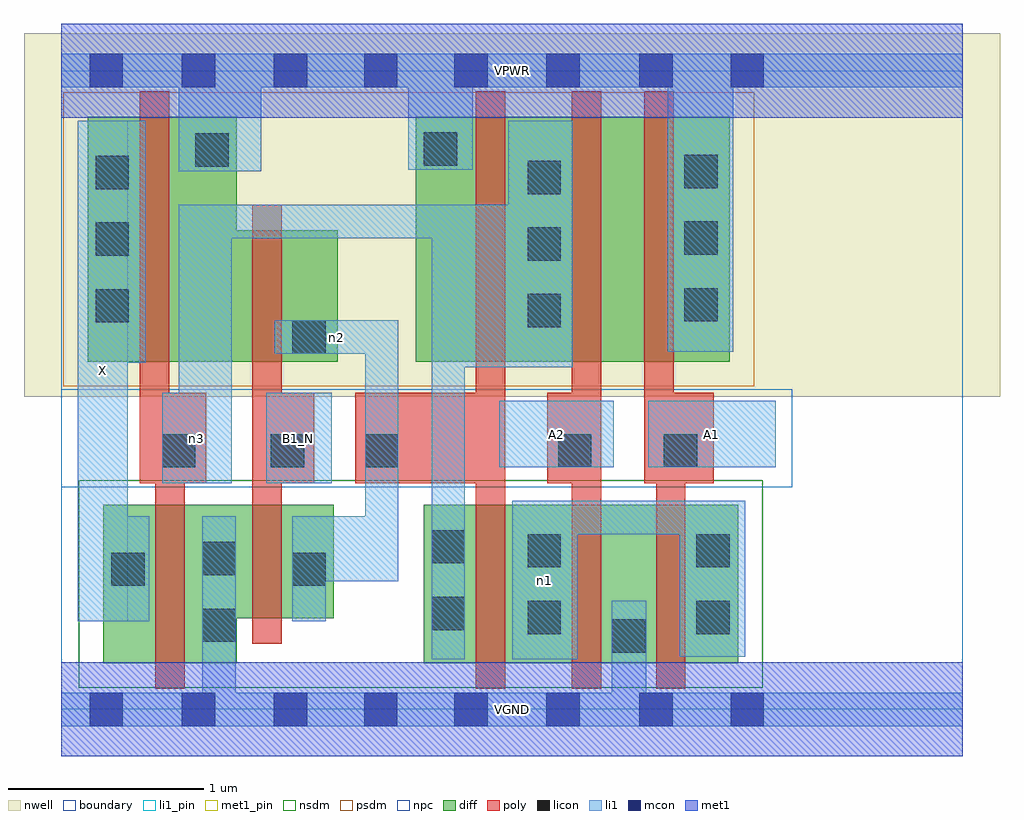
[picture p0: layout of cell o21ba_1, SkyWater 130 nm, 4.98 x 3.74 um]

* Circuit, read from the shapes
.subckt o21ba_1 A1 A2 B1_N VGND VPWR X n1 n2 n3
XM1 VGND n3 X VSUBS sky130_fd_pr__nfet_01v8 w=0.81 l=0.15
XM2 n2 B1_N VGND VSUBS sky130_fd_pr__nfet_01v8 w=0.58 l=0.15
XM3 n1 n2 n3 VSUBS sky130_fd_pr__nfet_01v8 w=0.81 l=0.15
XM4 VGND A2 n1 VSUBS sky130_fd_pr__nfet_01v8 w=0.81 l=0.15
XM5 n1 A1 VGND VSUBS sky130_fd_pr__nfet_01v8 w=0.81 l=0.15
XM6 VPWR n3 X n4 sky130_fd_pr__pfet_01v8 w=1.25 l=0.15
XM7 n2 B1_N VPWR n4 sky130_fd_pr__pfet_01v8 w=0.67 l=0.15
XM8 n3 n2 VPWR n4 sky130_fd_pr__pfet_01v8 w=1.25 l=0.15
XM9 n5 A2 n3 n4 sky130_fd_pr__pfet_01v8 w=1.25 l=0.15
XM10 VPWR A1 n5 n4 sky130_fd_pr__pfet_01v8 w=1.25 l=0.15
.ends

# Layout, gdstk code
import gdstk
lib = gdstk.Library(unit=1e-6, precision=1e-09)
def R(c, l, rs):  # rectangles x0, y0, x1, y1
    for r in rs: c.add(gdstk.rectangle(r[:2], r[2:], *l))
def A(c, l, x, y, w, h, nx, ny, dx, dy):  # array of equal rectangles
    R(c, l, [(x+i*dx, y+j*dy, x+i*dx+w, y+j*dy+h) for i in range(nx) for j in range(ny)])
nwell = (64, 20)
diff = (65, 20)
poly = (66, 20)
licon = (66, 44)
li1_pin = (67, 16)
li1 = (67, 20)
mcon = (67, 44)
met1_pin = (68, 16)
met1 = (68, 20)
nsdm = (93, 44)
psdm = (94, 20)
npc = (95, 20)
boundary = (235, 4)

o21ba_1 = lib.new_cell('o21ba_1')
R(o21ba_1, nwell, [(-0.19,1.595,4.79,3.45), (0,1.595,4.6,3.45)])
R(o21ba_1, diff, [(0.215,0.235,0.895,1.045), (1.85,0.235,3.455,1.045), (0.215,0.465,1.39,1.045), (0.135,1.775,0.895,3.025), (0.135,1.775,1.41,2.445), (1.81,1.775,3.41,3.025)])
R(o21ba_1, poly, [(0.48,0.105,0.63,1.615), (2.115,0.105,2.265,3.155), (2.605,0.105,2.755,3.155), (3.035,0.105,3.185,1.615), (0.975,0.335,1.125,2.575), (0.4,1.155,0.55,3.155), (0.4,1.155,0.74,1.615), (0.975,1.155,1.29,1.615), (1.5,1.155,2.265,1.615), (2.48,1.155,2.755,1.615), (2.975,1.155,3.125,3.155), (2.975,1.155,3.33,1.615)])
A(o21ba_1, licon, 2.38, 1.95, 0.17, 0.17, 1, 3, 0, 0.34)
A(o21ba_1, licon, 0.175, 1.975, 0.17, 0.17, 1, 3, 0, 0.34)
A(o21ba_1, licon, 3.18, 1.98, 0.17, 0.17, 1, 3, 0, 0.34)
R(o21ba_1, licon, [(2.81,0.29,2.98,0.46), (0.72,0.345,0.89,0.515), (2.38,0.385,2.55,0.555), (3.24,0.385,3.41,0.555), (1.89,0.405,2.06,0.575), (0.255,0.63,0.425,0.8), (1.18,0.63,1.35,0.8), (0.72,0.685,0.89,0.855), (2.38,0.725,2.55,0.895), (3.24,0.725,3.41,0.895), (1.89,0.745,2.06,0.915), (0.515,1.235,0.685,1.405), (1.07,1.235,1.24,1.405), (1.55,1.235,1.72,1.405), (2.535,1.235,2.705,1.405), (3.075,1.235,3.245,1.405), (1.18,1.815,1.35,1.985), (0.685,2.77,0.855,2.94), (1.85,2.775,2.02,2.945)])
R(o21ba_1, li1_pin, [(0.085,0.45,0.34,3.005), (1.045,1.155,1.38,1.615), (2.235,1.235,2.82,1.575), (2.995,1.235,3.645,1.575)])
R(o21ba_1, li1, [(0,-0.085,4.6,0.085), (0.72,-0.085,0.89,0.985), (2.81,-0.085,2.985,0.555), (1.89,0.255,2.06,2.575), (2.3,0.255,2.635,1.065), (3.155,0.27,3.49,1.065), (0.085,0.45,0.34,3.005), (0.085,0.45,0.45,0.985), (1.18,0.45,1.35,0.985), (1.18,0.655,1.72,0.985), (1.55,0.655,1.72,1.985), (2.3,0.895,3.49,1.065), (0.515,1.155,0.87,1.615), (0.6,1.155,0.87,2.575), (1.045,1.155,1.38,1.615), (2.235,1.235,2.82,1.575), (2.995,1.235,3.645,1.575), (1.89,1.745,2.61,2.575), (2.28,1.745,2.61,3.005), (0.085,1.77,0.43,3.005), (1.09,1.815,1.72,1.985), (3.095,1.825,3.43,3.345), (0.6,2.405,2.61,2.575), (0.6,2.745,1.02,3.345), (1.77,2.755,2.1,3.345), (0,3.175,4.6,3.345)])
A(o21ba_1, mcon, 0.145, -0.085, 0.17, 0.17, 3, 2, 0.47, 3.26)
R(o21ba_1, mcon, [(1.545,-0.085,1.715,0.085), (2.005,-0.085,2.175,0.085), (2.475,-0.085,2.645,0.085), (2.95,-0.085,3.12,0.085), (3.415,-0.085,3.585,0.085), (1.545,3.175,1.715,3.345), (2.005,3.175,2.175,3.345), (2.475,3.175,2.645,3.345), (2.95,3.175,3.12,3.345), (3.415,3.175,3.585,3.345)])
R(o21ba_1, met1_pin, [(0,-0.24,4.6,0.24), (0,3.02,4.6,3.5)])
R(o21ba_1, met1, [(0,-0.24,4.6,0.24), (0,3.02,4.6,3.5)])
R(o21ba_1, nsdm, [(0.09,0.11,3.58,1.17)])
R(o21ba_1, psdm, [(0.01,1.65,3.535,3.15)])
R(o21ba_1, npc, [(0,1.135,3.73,1.635)])
R(o21ba_1, boundary, [(0,0,4.6,3.26)])
o21ba_1.add(gdstk.Label('A1', (3.32,1.405), layer=67, texttype=5))
o21ba_1.add(gdstk.Label('A2', (2.527,1.405), layer=67, texttype=5))
o21ba_1.add(gdstk.Label('B1_N', (1.212,1.385), layer=67, texttype=5))
o21ba_1.add(gdstk.Label('X', (0.212,1.727), layer=67, texttype=5))
o21ba_1.add(gdstk.Label('n1', (2.467,0.66), layer=67, texttype=5))
o21ba_1.add(gdstk.Label('n2', (1.405,1.9), layer=67, texttype=5))
o21ba_1.add(gdstk.Label('n3', (0.692,1.385), layer=67, texttype=5))
o21ba_1.add(gdstk.Label('VPWR', (2.3,3.26), layer=68, texttype=5))
o21ba_1.add(gdstk.Label('VGND', (2.3,0), layer=68, texttype=5))
o21ba_1.add(gdstk.Label('A1', (3.32,1.405), layer=67, texttype=16))
o21ba_1.add(gdstk.Label('A2', (2.527,1.405), layer=67, texttype=16))
o21ba_1.add(gdstk.Label('B1_N', (1.212,1.385), layer=67, texttype=16))
o21ba_1.add(gdstk.Label('X', (0.212,1.727), layer=67, texttype=16))
o21ba_1.add(gdstk.Label('VPWR', (2.3,3.26), layer=68, texttype=16))
o21ba_1.add(gdstk.Label('VGND', (2.3,0), layer=68, texttype=16))

lib.write_gds('o21ba_1.gds')
